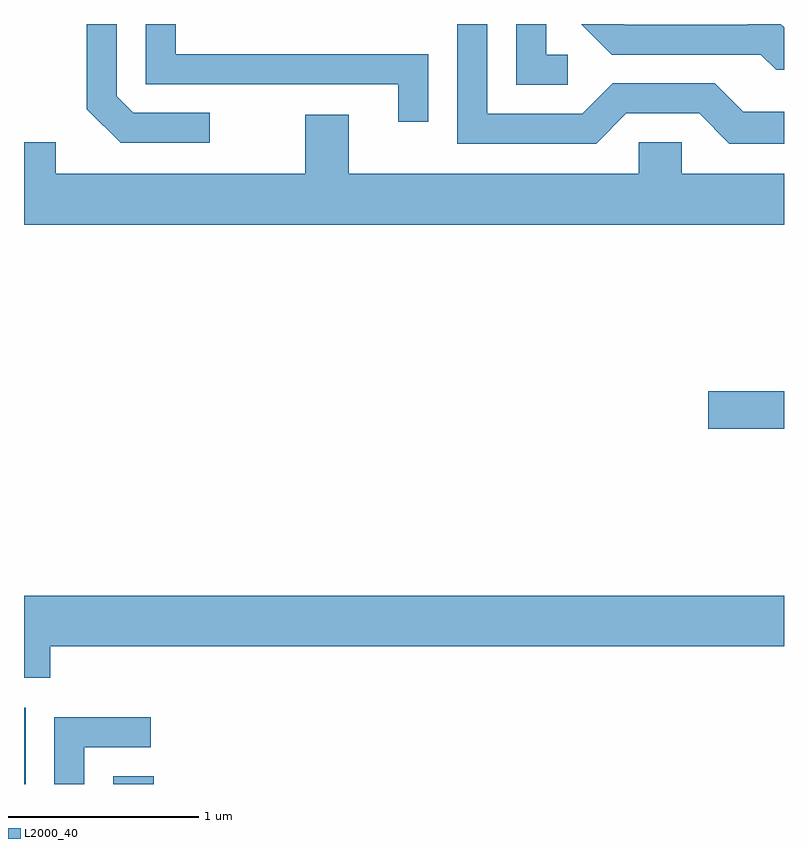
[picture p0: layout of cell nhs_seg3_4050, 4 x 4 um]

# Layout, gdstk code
import gdstk
lib = gdstk.Library(unit=1e-6, precision=1e-09)
def R(c, l, rs):  # rectangles x0, y0, x1, y1
    for r in rs: c.add(gdstk.rectangle(r[:2], r[2:], *l))
def P(c, l, *ps):  # polygons
    for p in ps: c.add(gdstk.Polygon(p, *l))
L2000_40 = (2000, 40)

nhs_seg3_4050 = lib.new_cell('nhs_seg3_4050')
R(nhs_seg3_4050, L2000_40, [(303.611,1191.892,303.619,1192.294), (304.081,1191.892,304.294,1191.934), (307.211,1193.761,307.611,1193.959)])
P(nhs_seg3_4050, L2000_40, [(306.473,1195.729),(306.359,1195.729),(306.359,1195.892),(306.201,1195.892),(306.201,1195.571),(306.473,1195.571)],
  [(307.611,1195.875),(307.594,1195.892),(307.421,1195.892),(307.421,1195.889),(306.772,1195.889),(306.769,1195.892),(306.543,1195.892),(306.704,1195.731),(307.489,1195.731),(307.569,1195.651),(307.611,1195.651)],
  [(306.782,1195.421),(307.164,1195.421),(307.324,1195.261),(307.611,1195.261),(307.611,1195.429),(307.397,1195.429),(307.247,1195.579),(306.709,1195.579),(306.549,1195.419),(306.049,1195.419),(306.049,1195.892),(305.891,1195.892),(305.891,1195.261),(306.622,1195.261)],
  [(304.588,1195.424),(304.187,1195.424),(304.099,1195.512),(304.099,1195.892),(303.941,1195.892),(303.941,1195.444),(304.119,1195.266),(304.588,1195.266)],
  [(305.739,1195.734),(304.409,1195.734),(304.409,1195.892),(304.251,1195.892),(304.251,1195.576),(305.581,1195.576),(305.581,1195.378),(305.739,1195.378)],
  [(307.611,1195.104),(307.074,1195.104),(307.074,1195.269),(306.846,1195.269),(306.846,1195.104),(305.319,1195.104),(305.319,1195.414),(305.091,1195.414),(305.091,1195.104),(303.779,1195.104),(303.779,1195.269),(303.611,1195.269),(303.611,1194.836),(307.611,1194.836)],
  [(303.749,1192.616),(307.611,1192.616),(307.611,1192.884),(303.611,1192.884),(303.611,1192.451),(303.749,1192.451)],
  [(303.929,1192.086),(304.278,1192.086),(304.278,1192.244),(303.771,1192.244),(303.771,1191.892),(303.929,1191.892)])

lib.write_gds('nhs_seg3_4050.gds')
